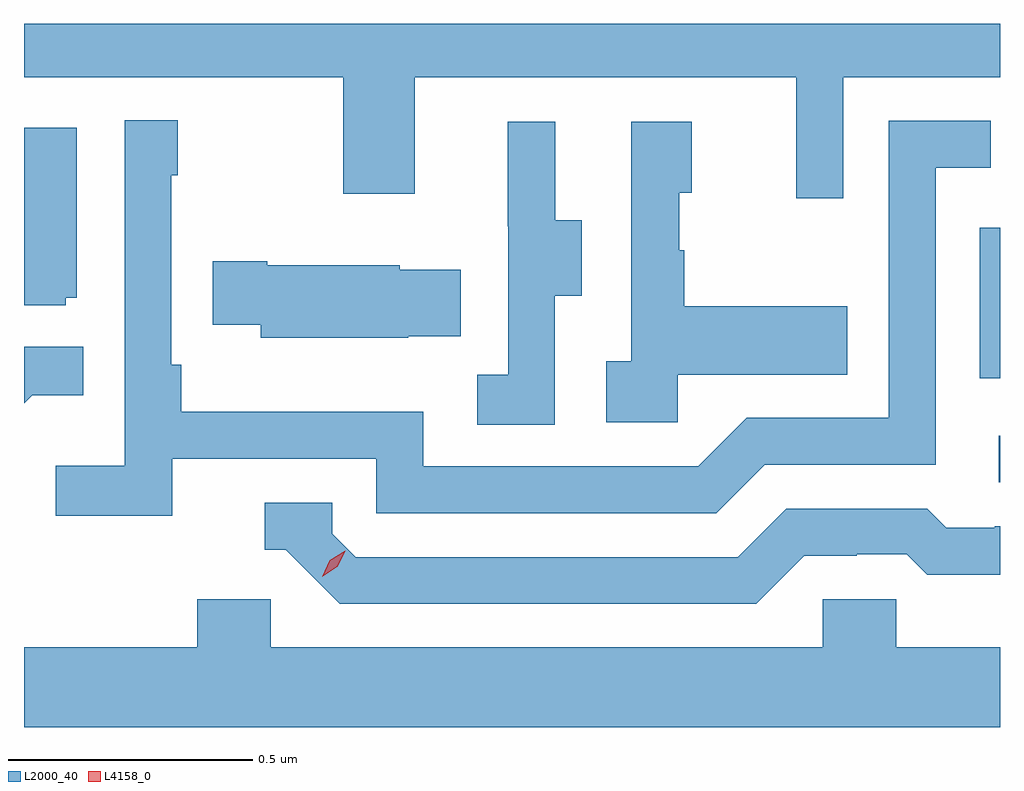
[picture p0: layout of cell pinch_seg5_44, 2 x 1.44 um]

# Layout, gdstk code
import gdstk
lib = gdstk.Library(unit=1e-6, precision=1e-09)
def R(c, l, rs):  # rectangles x0, y0, x1, y1
    for r in rs: c.add(gdstk.rectangle(r[:2], r[2:], *l))
def P(c, l, *ps):  # polygons
    for p in ps: c.add(gdstk.Polygon(p, *l))
L2000_40 = (2000, 40)
L4158_0 = (4158, 0)

pinch_seg5_44 = lib.new_cell('pinch_seg5_44')
R(pinch_seg5_44, L2000_40, [(1115.553,909.21,1115.556,909.306), (1115.514,909.423,1115.556,909.732)])
P(pinch_seg5_44, L2000_40, [(1115.235,910.04),(1115.556,910.04),(1115.556,910.15),(1113.556,910.15),(1113.556,910.04),(1114.21,910.04),(1114.21,909.801),(1114.357,909.801),(1114.357,910.04),(1115.138,910.04),(1115.138,909.792),(1115.235,909.792)],
  [(1113.86,909.258),(1114.278,909.258),(1114.278,909.147),(1114.975,909.147),(1115.074,909.246),(1115.424,909.246),(1115.424,909.855),(1115.537,909.855),(1115.537,909.951),(1115.328,909.951),(1115.328,909.342),(1115.037,909.342),(1114.938,909.243),(1114.374,909.243),(1114.374,909.355),(1113.878,909.355),(1113.878,909.451),(1113.858,909.451),(1113.858,909.839),(1113.871,909.839),(1113.871,909.952),(1113.762,909.952),(1113.762,909.244),(1113.621,909.244),(1113.621,909.142),(1113.86,909.142)],
  [(1114.644,909.592),(1114.699,909.592),(1114.699,909.747),(1114.645,909.747),(1114.645,909.949),(1114.547,909.949),(1114.547,909.735),(1114.548,909.735),(1114.548,909.431),(1114.485,909.431),(1114.485,909.328),(1114.644,909.328)],
  [(1114.896,909.431),(1115.243,909.431),(1115.243,909.571),(1114.909,909.571),(1114.909,909.686),(1114.899,909.686),(1114.899,909.804),(1114.924,909.804),(1114.924,909.949),(1114.8,909.949),(1114.8,909.458),(1114.749,909.458),(1114.749,909.333),(1114.896,909.333)],
  [(1113.642,909.588),(1113.664,909.588),(1113.664,909.937),(1113.556,909.937),(1113.556,909.573),(1113.642,909.573)],
  [(1114.343,909.509),(1114.451,909.509),(1114.451,909.646),(1114.326,909.646),(1114.326,909.655),(1114.054,909.655),(1114.054,909.663),(1113.943,909.663),(1113.943,909.533),(1114.041,909.533),(1114.041,909.506),(1114.343,909.506)],
  [(1113.573,909.389),(1113.677,909.389),(1113.677,909.488),(1113.556,909.488),(1113.556,909.372)],
  [(1115.155,909.06),(1115.262,909.06),(1115.262,909.063),(1115.365,909.063),(1115.407,909.021),(1115.556,909.021),(1115.556,909.12),(1115.545,909.12),(1115.545,909.117),(1115.446,909.117),(1115.407,909.156),(1115.118,909.156),(1115.019,909.057),(1114.236,909.057),(1114.188,909.105),(1114.188,909.168),(1114.049,909.168),(1114.049,909.072),(1114.092,909.072),(1114.203,908.961),(1115.056,908.961)],
  [(1115.556,908.872),(1115.343,908.872),(1115.343,908.97),(1115.193,908.97),(1115.193,908.872),(1114.062,908.872),(1114.062,908.97),(1113.911,908.97),(1113.911,908.872),(1113.556,908.872),(1113.556,908.708),(1115.556,908.708)])
P(pinch_seg5_44, L4158_0, [(1114.167,909.017),(1114.167,909.017),(1114.183,909.05),(1114.214,909.07),(1114.214,909.07),(1114.214,909.069),(1114.198,909.037),(1114.167,909.017)])

lib.write_gds('pinch_seg5_44.gds')
